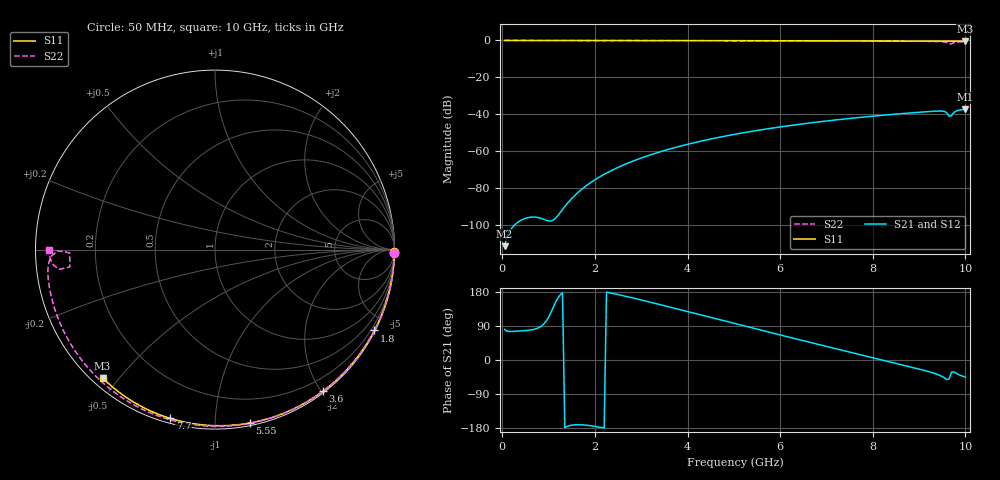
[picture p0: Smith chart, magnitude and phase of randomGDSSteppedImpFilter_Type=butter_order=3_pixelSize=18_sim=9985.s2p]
! freq	dB(S11)	phase(S11)	dB(S12)	phase(S12)
!  dB(S21)	phase(S21)	dB(S22)	phase(S22)
!S-par simulation data
#  GHz  S  DB  R 50
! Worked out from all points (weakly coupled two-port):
!   200 points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, 50 MHz to 10 GHz, reference 50 ohm
!   highest |S21| = -37.29 dB at 10 GHz (marker M1); lowest = -111.3 dB at 50 MHz (marker M2)
!   lowest |S11| = -0.4 dB at 10 GHz (marker M3), VSWR 39.11, Z = 1.54 - j22.6 ohm
!   |S11| at or under -10 dB: nowhere
!   |S22| runs from -1.8 to 0.0 dB; largest |S21 - S12| = 0
!   S11 on the Smith chart (normalised r, x): 50 MHz: open; 1.8 GHz: 0.04, -4.18; 3.6 GHz: 0.02, -2.02; 5.55 GHz: 0.02, -1.22; 7.7 GHz: 0.02, -0.77; 10 GHz: 0.03, -0.45
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0.05  -0.00 -0.8  -111.33 80.7  -111.33 80.7  -0.00 -1.1
0.85  -0.02 -12.8  -96.36 90.0  -96.36 90.0  -0.02 -17.7
1.75  -0.03 -26.2  -79.81 -171.3  -79.81 -171.3  -0.05 -36.0
1.8  -0.03 -26.9  -78.85 -171.8  -78.85 -171.8  -0.05 -37.0
2.1  -0.04 -31.3  -73.86 -177.2  -73.86 -177.2  -0.05 -43.0
2.5  -0.05 -37.1  -68.68 172.7  -68.68 172.7  -0.06 -50.9
3.4  -0.07 -49.8  -60.31 146.3  -60.31 146.3  -0.09 -68.1
3.6  -0.07 -52.6  -58.85 140.2  -58.85 140.2  -0.10 -71.8
4.3  -0.09 -62.1  -54.43 118.5  -54.43 118.5  -0.12 -84.6
5.05  -0.11 -72.1  -50.64 95.3  -50.64 95.3  -0.15 -97.8
5.55  -0.13 -78.6  -48.51 79.9  -48.51 79.9  -0.17 -106.4
6.7  -0.18 -92.9  -44.47 44.8  -44.47 44.8  -0.24 -125.8
7.7  -0.24 -104.9  -41.70 15.0  -41.70 15.0  -0.32 -142.4
8.35  -0.29 -112.5  -40.18 -4.3  -40.18 -4.3  -0.39 -153.4
9.45  -0.39 -125.0  -38.19 -40.7  -38.19 -40.7  -0.60 -174.4
9.55  -0.40 -126.2  -38.45 -47.4  -38.45 -47.4  -0.80 -177.7
9.6  -0.40 -126.7  -39.16 -51.8  -39.16 -51.8  -1.14 -179.6
9.65  -0.41 -127.3  -41.05 -49.8  -41.05 -49.8  -1.83 -178.7
9.7  -0.41 -127.9  -40.76 -32.2  -40.76 -32.2  -1.78 -173.2
9.75  -0.42 -128.4  -38.98 -31.3  -38.98 -31.3  -1.19 -172.8
9.85  -0.43 -129.6  -37.81 -38.2  -37.81 -38.2  -0.78 -175.9
10  -0.44 -131.2  -37.29 -45.2  -37.29 -45.2  -0.67 -179.8
